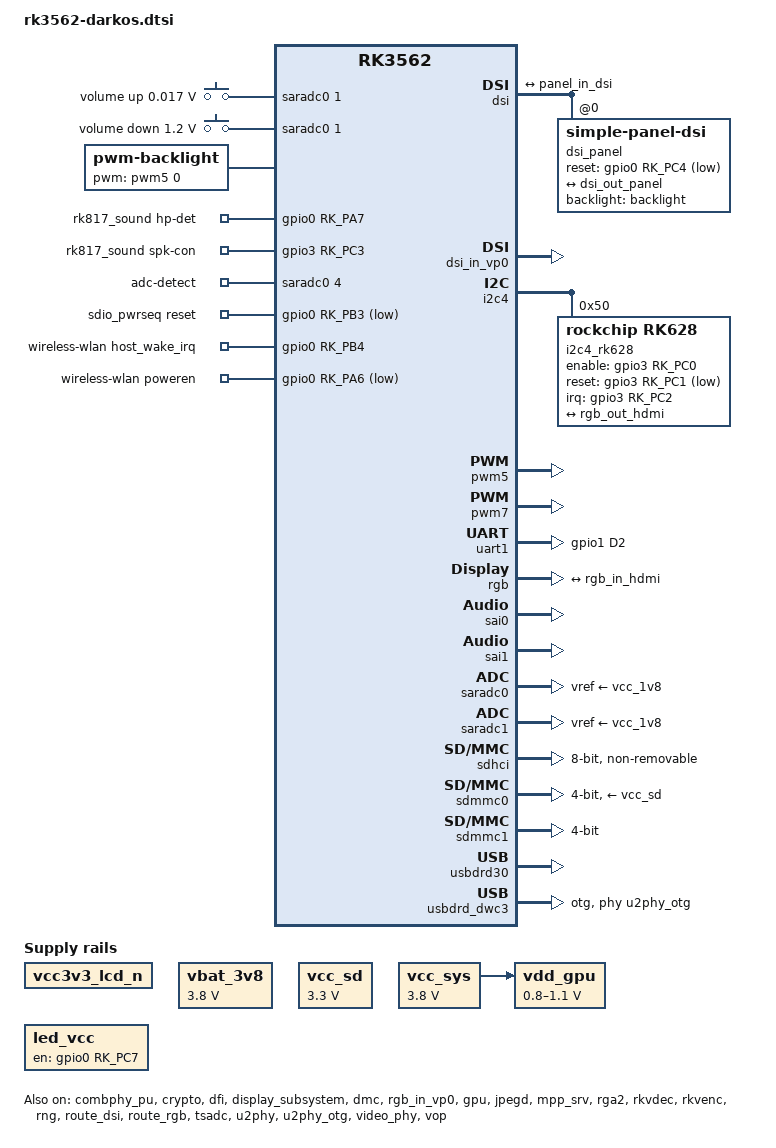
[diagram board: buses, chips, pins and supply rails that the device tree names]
// SPDX-License-Identifier: (GPL-2.0+ OR MIT)
/*
 * Copyright (c) 2024 dArkOS Contributors
 *
 * Shared device tree include for dArkOS gaming handhelds based on
 * Rockchip RK3562 with RK817 PMIC.  Included by both rk3562-rg52mini.dts
 * (portrait 720x1280 panel) and rk3562-rg43h.dts (landscape 1024x768 panel).
 *
 * Per-device DTS files override:
 *   - vcc3v3_lcd_n (gpios, enable-active-*, pinctrl-0)
 *   - DSI panel (panel-init-sequence, display-timings, power-supply/enable-gpios, pinctrl-0)
 *   - play_joystick node (entirely per-device)
 */

#include <dt-bindings/display/drm_mipi_dsi.h>
#include <dt-bindings/gpio/gpio.h>
#include <dt-bindings/input/input.h>
#include <dt-bindings/pinctrl/rockchip.h>

/ {
	adc_keys: adc-keys {
		compatible = "adc-keys";
		io-channels = <&saradc0 1>;
		io-channel-names = "buttons";
		keyup-threshold-microvolt = <1800000>;
		poll-interval = <100>;

		vol-up-key {
			linux,code = <KEY_VOLUMEUP>;
			label = "volume up";
			press-threshold-microvolt = <17000>;
		};

		vol-down-key {
			linux,code = <KEY_VOLUMEDOWN>;
			label = "volume down";
			press-threshold-microvolt = <1200000>;
		};
	};

	backlight: backlight {
		compatible = "pwm-backlight";
		pwms = <&pwm5 0 25000 0>;
		brightness-levels = <
			  0  20  20  21  21  22  22  23
			 23  24  24  25  25  26  26  27
			 27  28  28  29  29  30  30  31
			 31  32  32  33  33  34  34  35
			 35  36  36  37  37  38  38  39
			 40  41  42  43  44  45  46  47
			 48  49  50  51  52  53  54  55
			 56  57  58  59  60  61  62  63
			 64  65  66  67  68  69  70  71
			 72  73  74  75  76  77  78  79
			 80  81  82  83  84  85  86  87
			 88  89  90  91  92  93  94  95
			 96  97  98  99 100 101 102 103
			104 105 106 107 108 109 110 111
			112 113 114 115 116 117 118 119
			120 121 122 123 124 125 126 127
			128 129 130 131 132 133 134 135
			136 137 138 139 140 141 142 143
			144 145 146 147 148 149 150 151
			152 153 154 155 156 157 158 159
			160 161 162 163 164 165 166 167
			168 169 170 171 172 173 174 175
			176 177 178 179 180 181 182 183
			184 185 186 187 188 189 190 191
			192 193 194 195 196 197 198 199
			200 201 202 203 204 205 206 207
			208 209 210 211 212 213 214 215
			216 217 218 219 220 221 222 223
			224 225 226 227 228 229 230 231
			232 233 234 235 236 237 238 239
			240 241 242 243 244 245 246 247
			248 249 250 251 252 253 254 255
		>;
		default-brightness-level = <200>;
	};

	pdm_codec: dummy-codec {
		status = "okay";
		compatible = "rockchip,dummy-codec";
		#sound-dai-cells = <0>;
	};

	pdm_mic_array: pdm-mic-array {
		status = "disabled";
		compatible = "simple-audio-card";
		simple-audio-card,name = "rockchip,pdm-mic-array";

		simple-audio-card,cpu {
			sound-dai = <&pdm>;
		};

		simple-audio-card,codec {
			sound-dai = <&pdm_codec>;
		};
	};

	spdif_out: spdif-out {
		status = "disabled";
		compatible = "linux,spdif-dit";
		#sound-dai-cells = <0>;
	};

	spdif_sound: spdif-sound {
		status = "disabled";
		compatible = "simple-audio-card";
		simple-audio-card,name = "rk-spdif-sound";
		simple-audio-card,mclk-fs = <128>;

		simple-audio-card,cpu {
			sound-dai = <&spdif_8ch>;
		};

		simple-audio-card,codec {
			sound-dai = <&spdif_out>;
		};
	};

	test-power {
		status = "okay";
	};

	/*
	 * LCD voltage regulator skeleton.  Per-device DTS files add gpios,
	 * enable-active-low/high, pinctrl-0, and status = "okay".
	 */
	vcc3v3_lcd_n: vcc3v3-lcd0-n {
		compatible = "regulator-fixed";
		regulator-name = "vcc3v3_lcd_n";
		regulator-boot-on;

		regulator-state-mem {
			regulator-off-in-suspend;
		};
	};

	rk817_sound: rk817-sound {
		status = "okay";
		compatible = "rockchip,multicodecs-card";
		rockchip,card-name = "rockchip-rk817";
		hp-det-gpio = <&gpio0 RK_PA7 GPIO_ACTIVE_HIGH>;
		io-channels = <&saradc0 4>;
		io-channel-names = "adc-detect";
		keyup-threshold-microvolt = <1800000>;
		poll-interval = <100>;
		rockchip,format = "i2s";
		rockchip,mclk-fs = <256>;
		rockchip,cpu = <&sai0>;
		rockchip,codec = <&rk817_codec>;
		pinctrl-names = "default";
		spk-con-gpios = <&gpio3 RK_PC3 GPIO_ACTIVE_HIGH>;
		pinctrl-0 = <&hp_det &hp_con>;
		rockchip,audio-routing =
			"Headphone", "HPOL",
			"Headphone", "HPOR",
			"Speaker", "HPOL",
			"Speaker", "HPOR";

		play-pause-key {
			label = "playpause";
			linux,code = <KEY_PLAYPAUSE>;
			press-threshold-microvolt = <2000>;
		};
	};

	rk628_sound: rk628-sound {
		compatible = "simple-audio-card";
		simple-audio-card,format = "i2s";
		simple-audio-card,mclk-fs = <128>;
		simple-audio-card,name = "rockchip,hdmi-rk628";
		status = "okay";

		simple-audio-card,cpu {
			sound-dai = <&sai1>;
		};

		simple-audio-card,codec {
			sound-dai = <&i2c4_rk628>;
		};
	};

	sdio_pwrseq: sdio-pwrseq {
		compatible = "mmc-pwrseq-simple";
		clocks = <&rk817 1>;
		clock-names = "ext_clock";
		pinctrl-names = "default";
		pinctrl-0 = <&wifi_enable_h>;
		post-power-on-delay-ms = <200>;
		reset-gpios = <&gpio0 RK_PB3 GPIO_ACTIVE_LOW>;
	};

	vbat_3v8: vbat-3v8 {
		compatible = "regulator-fixed";
		regulator-name = "vbat_3v8";
		regulator-always-on;
		regulator-boot-on;
		regulator-min-microvolt = <3800000>;
		regulator-max-microvolt = <3800000>;
	};

	vcc_sd: vcc-sd {
		compatible = "regulator-gpio";
		enable-active-low;
		regulator-boot-on;
		gpios = <&gpio0 RK_PA5 GPIO_ACTIVE_LOW>;
		regulator-min-microvolt = <3300000>;
		regulator-max-microvolt = <3300000>;
		pinctrl-names = "default";
		pinctrl-0 = <&vcc_sd_h>;
		regulator-name = "vcc_sd";
		states = <0 0x0
			  3300000 0x1>;
	};

	vcc_sys: vcc-sys {
		compatible = "regulator-fixed";
		regulator-name = "vcc_sys";
		regulator-always-on;
		regulator-boot-on;
		regulator-min-microvolt = <3800000>;
		regulator-max-microvolt = <3800000>;
	};

	vdd_gpu: vdd-gpu {
		compatible = "pwm-regulator";
		pwms = <&pwm7 0 5000 1>;
		regulator-name = "vdd_gpu";
		regulator-min-microvolt = <800000>;
		regulator-max-microvolt = <1100000>;
		regulator-init-microvolt = <900000>;
		regulator-always-on;
		regulator-boot-on;
		regulator-settling-time-up-us = <250>;
		pwm-supply = <&vcc_sys>;
		status = "okay";
	};

	vdd_npu: vdd-npu {
		compatible = "pwm-regulator";
		pwms = <&pwm6 0 5000 1>;
		regulator-name = "vdd_npu";
		regulator-min-microvolt = <800000>;
		regulator-max-microvolt = <1100000>;
		regulator-init-microvolt = <900000>;
		regulator-settling-time-up-us = <250>;
		pwm-supply = <&vcc_sys>;
		status = "disabled";
	};

	led_vcc: led-vcc {
		compatible = "regulator-fixed";
		regulator-name = "vcc-led";
		pinctrl-0 = <&led_en_gpio>;
		pinctrl-names = "default";
		gpios = <&gpio0 RK_PC7 GPIO_ACTIVE_HIGH>;
		enable-active-high;
	};

	wireless-wlan {
		compatible = "wlan-platdata";
		rockchip,grf = <&sys_grf>;
		/* Rev A is RK915, rev B is AIC8800D80. rfkill is the only consumer
		 * and only prefix-matches "rtl..."; aic8800 binds by SDIO vendor ID.
		 * "aic8800D80" matches the silicon (fmacfw_8800d80_h_u02.bin). */
		wifi_chip_type = "aic8800D80";
		pinctrl-names = "default";
		pinctrl-0 = <&wifi_host_wake_irq &wifi_poweren_gpio>;
		WIFI,host_wake_irq = <&gpio0 RK_PB4 GPIO_ACTIVE_HIGH>;
		WIFI,poweren_gpio = <&gpio0 RK_PA6 GPIO_ACTIVE_LOW>;
		sdio_vref = <1800>;
		status = "okay";
	};

	wireless-bluetooth {
		compatible = "bluetooth-platdata";
		status = "disabled";
	};

	charge-animation {
		compatible = "rockchip,uboot-charge";
		rockchip,uboot-charge-on = <1>;
		rockchip,android-charge-on = <0>;
		rockchip,uboot-low-power-voltage = <3450>;
		rockchip,screen-on-voltage = <3500>;
		status = "okay";
	};

	rockchip_suspend: rockchip-suspend {
		compatible = "rockchip,pm-rk3562";
		status = "disabled";
		rockchip,sleep-debug-en = <1>;
		rockchip,sleep-mode-config = <0x5e2>;
		rockchip,wakeup-config = <0x10>;
	};
};

/* ---- SoC peripheral enables ------------------------------------------- */

&cpu0 {
	cpu-supply = <&vdd_cpu>;
};

&combphy_pu {
	status = "okay";
};

&crypto {
	status = "okay";
};

&dfi {
	status = "okay";
};

&display_subsystem {
	status = "okay";
};

&dmc {
	center-supply = <&vdd_logic>;
	status = "okay";
};

&dsi {
	status = "okay";

	dsi_panel: panel@0 {
		status = "okay";
		compatible = "simple-panel-dsi";
		reg = <0>;
		backlight = <&backlight>;
		reset-delay-ms = <20>;
		enable-delay-ms = <120>;
		prepare-delay-ms = <20>;
		unprepare-delay-ms = <20>;
		disable-delay-ms = <20>;
		init-delay-ms = <20>;
		width-mm = <68>;
		height-mm = <121>;
		dsi,flags = <(MIPI_DSI_MODE_VIDEO | MIPI_DSI_MODE_VIDEO_BURST |
			MIPI_DSI_MODE_LPM | MIPI_DSI_MODE_EOT_PACKET)>;
		dsi,format = <MIPI_DSI_FMT_RGB888>;
		dsi,lanes = <4>;
		reset-gpios = <&gpio0 RK_PC4 GPIO_ACTIVE_LOW>;

		/*
		 * panel-init-sequence, power-supply / enable-gpios, and
		 * pinctrl-0 are set per-device.
		 */

		panel-exit-sequence = [
			05 00 01 28
			05 00 01 10
		];

		disp_timings0: display-timings {
			native-mode = <&dsi_timing0>;

			/* Defaults from RG52 Mini; overridden per-device */
			dsi_timing0: timing0 {
				clock-frequency = <76800000>;
				hactive = <720>;
				vactive = <1280>;
				hfront-porch = <100>;
				hsync-len = <33>;
				hback-porch = <100>;
				vfront-porch = <20>;
				vsync-len = <2>;
				vback-porch = <30>;
				hsync-active = <0>;
				vsync-active = <0>;
				de-active = <0>;
				pixelclk-active = <1>;
			};
		};

		ports {
			#address-cells = <1>;
			#size-cells = <0>;

			port@0 {
				reg = <0>;

				panel_in_dsi: endpoint {
					remote-endpoint = <&dsi_out_panel>;
				};
			};
		};
	};

	ports {
		#address-cells = <1>;
		#size-cells = <0>;

		port@1 {
			reg = <1>;

			dsi_out_panel: endpoint {
				remote-endpoint = <&panel_in_dsi>;
			};
		};
	};
};

&dsi_in_vp0 {
	status = "okay";
};

&rgb_in_vp0 {
	status = "okay";
};

&gpu {
	status = "okay";
	mali-supply = <&vdd_gpu>;
};

&i2c4 {
	status = "okay";

	i2c4_rk628: rk628@50 {
		status = "okay";
		compatible = "rockchip,rk628";
		reg = <0x50>;
		#sound-dai-cells = <0>;
		interrupt-parent = <&gpio3>;
		interrupts = <RK_PC2 IRQ_TYPE_LEVEL_HIGH>;
		enable-gpios = <&gpio3 RK_PC0 GPIO_ACTIVE_HIGH>;
		reset-gpios = <&gpio3 RK_PC1 GPIO_ACTIVE_LOW>;
		pinctrl-names = "default";
		pinctrl-0 = <&rk628_reset &refclk_pins>;
		assigned-clocks = <&cru CLK_PMU1_WIFI>;
		assigned-clock-rates = <24000000>;
		clocks = <&cru CLK_PMU1_WIFI>;
		clock-names = "soc_24M";
		rk628-rgb-in;
		rk628-hdmi-out;

		port {
			rgb_in_hdmi: endpoint {
				remote-endpoint = <&rgb_out_hdmi>;
			};
		};
	};
};

&jpegd {
	status = "okay";
};

&jpegd_mmu {
	status = "okay";
};

&mpp_srv {
	status = "okay";
};

/* pwm4 is enabled per-device -- only the RG52 Mini uses it (chassis fan).
 * RG43H Pro has no fan, so we don't claim GPIO1_D1 there. */

&pwm5 {
	status = "okay";
};

/* pwm6 left disabled — drives vdd_npu, NPU is unused */

&pwm7 {
	status = "okay";
};

/* uart1 (ttyS1) -- TX-only serial link to the analog-stick RGB LED MCU.
 * Enabled on both devices; the LED feature itself is OFF by default (the
 * vcc-led rail stays down until the user turns it on from Options > LED
 * Settings). Only uart1_tx is muxed (see mcu_uart_tx) so the RG52 Mini fan
 * keeps GPIO1_D1. /usr/local/bin/ledctl drives it at 9600 8N1. */
&uart1 {
	pinctrl-names = "default";
	pinctrl-0 = <&mcu_uart_tx>;
	status = "okay";
};

&rga2 {
	status = "okay";
};

&rga2_mmu {
	status = "okay";
};

/* rknpu + rknpu_mmu left disabled — NPU is unused, saves power */

&rkvdec {
	status = "okay";
};

&rkvdec_mmu {
	status = "okay";
};

&rkvenc {
	status = "okay";
};

&rkvenc_mmu {
	status = "okay";
};

&rng {
	status = "okay";
};

&route_dsi {
	status = "okay";
};

&route_rgb {
	status = "okay";
};

&rgb {
	status = "okay";
	pinctrl-names = "default";
	pinctrl-0 = <&rgb666_pins>;

	ports {
		port@1 {
			reg = <1>;

			rgb_out_hdmi: endpoint {
				remote-endpoint = <&rgb_in_hdmi>;
			};
		};
	};
};

&sai0 {
	status = "okay";
	pinctrl-names = "default";
	pinctrl-0 = <&i2s0m0_lrck
		     &i2s0m0_sclk
		     &i2s0m0_sdi0
		     &i2s0m0_sdo0>;
};

&sai1 {
	status = "okay";
	/* i2s1m1: HDMI I2S to rk628 — i2s1m0 pins overlap rgb666 to rk628 */
	pinctrl-names = "default";
	pinctrl-0 = <&i2s1m1_mclk
		     &i2s1m1_sclk
		     &i2s1m1_lrck
		     &i2s1m1_sdo0>;
};

&saradc0 {
	status = "okay";
	vref-supply = <&vcc_1v8>;
};

&saradc1 {
	status = "okay";
	vref-supply = <&vcc_1v8>;
};

&sdhci {
	bus-width = <8>;
	no-sdio;
	no-sd;
	non-removable;
	max-frequency = <200000000>;
	mmc-hs400-1_8v;
	mmc-hs400-enhanced-strobe;
	full-pwr-cycle-in-suspend;
	status = "okay";
};

&sdmmc0 {
	no-sdio;
	no-mmc;
	bus-width = <4>;
	cap-mmc-highspeed;
	cap-sd-highspeed;
	disable-wp;
	sd-uhs-sdr104;
	vmmc-supply = <&vcc_sd>;
	vqmmc-supply = <&vccio_sd>;
	pinctrl-names = "default";
	pinctrl-0 = <&sdmmc0_bus4 &sdmmc0_clk &sdmmc0_cmd &sdmmc0_det>;
	status = "okay";
};

&sdmmc1 {
	no-sd;
	no-mmc;
	bus-width = <4>;
	disable-wp;
	cap-sd-highspeed;
	cap-sdio-irq;
	keep-power-in-suspend;
	mmc-pwrseq = <&sdio_pwrseq>;
	broken-cd;
	pinctrl-names = "default";
	pinctrl-0 = <&sdmmc1_bus4 &sdmmc1_cmd &sdmmc1_clk>;
	sd-uhs-sdr104;
	supports-sdio;
	supports-rk912;
	status = "okay";
};

&tsadc {
	status = "okay";
};

&u2phy {
	status = "okay";
};

&u2phy_host {
	status = "disabled";
};

&u2phy_otg {
	status = "okay";
};

&usb_host0_ehci {
	status = "disabled";
};

&usb_host0_ohci {
	status = "disabled";
};

&usbdrd30 {
	status = "okay";
};

&usbdrd_dwc3 {
	status = "okay";
	dr_mode = "otg";
	extcon = <&u2phy>;
	maximum-speed = "high-speed";
	phys = <&u2phy_otg>;
	phy-names = "usb2-phy";
	snps,dis_u2_susphy_quirk;
	snps,usb2-lpm-disable;
};

&video_phy {
	status = "okay";
};

&vop {
	status = "okay";
};

&vop_mmu {
	status = "okay";
};

/* VOP port@0 — DSI connector: set plane-mask for all dArkOS devices */
&vp0 {
	rockchip,plane-mask = <0x30c>;
	rockchip,primary-plane = <0x02>;
};

/* ---- RK817 overrides -------------------------------------------------- */

&rk817_codec {
	use-ext-amplifier;
	hp2extamplifier;
	hp-mute-delay-ms = <100>;
};

/* Add gpio_ts pin configs (temperature sensor pin on the RK817 PMIC itself) */
&pinctrl_rk8xx {
	rk817_ts_gpio1: rk817_ts_gpio1 {
		pins = "gpio_ts";
		function = "pin_fun1";
	};

	rk817_pin_ts: rk817_pin_ts {
		pins = "gpio_ts";
		function = "pin_fun0";
	};
};

/* ---- Pin control ------------------------------------------------------ */

&pinctrl {
	headphone {
		hp_det: hp-det {
			rockchip,pins = <0 RK_PA7 RK_FUNC_GPIO &pcfg_pull_up>;
		};
	};

	hp2extspeaker {
		hp_con: hp-con {
			rockchip,pins = <3 RK_PC3 RK_FUNC_GPIO &pcfg_pull_up>;
		};
	};

	lcd {
		lcd_rst_gpio: lcd-rst-gpio {
			rockchip,pins = <0 RK_PC4 RK_FUNC_GPIO &pcfg_pull_none>;
		};
	};

	sdio-pwrseq {
		wifi_enable_h: wifi-enable-h {
			rockchip,pins = <0 RK_PB3 RK_FUNC_GPIO &pcfg_pull_none>;
		};
	};

	vcc_sd {
		vcc_sd_h: vcc-sd-h {
			rockchip,pins = <0 RK_PA5 RK_FUNC_GPIO &pcfg_pull_down>;
		};
	};

	wireless-wlan {
		wifi_host_wake_irq: wifi-host-wake-irq {
			rockchip,pins = <0 RK_PB4 RK_FUNC_GPIO &pcfg_pull_down>;
		};

		wifi_poweren_gpio: wifi-poweren-gpio {
			rockchip,pins = <0 RK_PA6 RK_FUNC_GPIO &pcfg_pull_up>;
		};
	};

	rk628 {
		rk628_reset: rk628-reset {
			rockchip,pins = <3 RK_PC1 RK_FUNC_GPIO &pcfg_pull_none>;
		};

		refclk_pins: refclk-pins {
			rockchip,pins = <0 RK_PA0 1 &pcfg_pull_none>;
		};
	};

	vcc-led {
		led_en_gpio: led-en-gpio {
			rockchip,pins = <0 RK_PC7 RK_FUNC_GPIO &pcfg_pull_up>;
		};
	};

	stick-led-mcu {
		/* uart1_tx_m0 (GPIO1_D2) ONLY. The stick-RGB LED MCU is a
		 * write-only target (the mcu_led protocol never reads), so we
		 * deliberately do NOT mux uart1_rx_m0 (GPIO1_D1). That leaves
		 * GPIO1_D1 free for the RG52 Mini chassis fan (pwm4_m1), so the
		 * fan and the LED MCU coexist on one UART pin pair. */
		mcu_uart_tx: mcu-uart-tx {
			rockchip,pins = <1 RK_PD2 1 &pcfg_pull_up>;
		};
	};

	fan {
		fan_vcc_en_gpio: fan-vcc-en-gpio {
			rockchip,pins = <0 RK_PC3 RK_FUNC_GPIO &pcfg_pull_none>;
		};

		fan_det_gpio: fan-det-gpio {
			rockchip,pins = <2 RK_PA1 RK_FUNC_GPIO &pcfg_pull_up>;
		};
	};

	charge-led {
		charge_led_gpio: charge-led-gpio {
			rockchip,pins =
				<3 RK_PA0 RK_FUNC_GPIO &pcfg_pull_up>,
				<3 RK_PA1 RK_FUNC_GPIO &pcfg_pull_up>;
		};
	};

	buttons {
		/*
		 * All 10 button GPIOs are listed here (RG52 Mini has 10,
		 * RG43H Pro has 9).  The joystick driver node is per-device
		 * and references only the pins it needs via key-gpios.
		 */
		gpio_key_pin: gpio-key-pin {
			rockchip,pins =
				<1 RK_PC7 RK_FUNC_GPIO &pcfg_pull_up>,
				<1 RK_PD0 RK_FUNC_GPIO &pcfg_pull_up>,
				<1 RK_PD5 RK_FUNC_GPIO &pcfg_pull_up>,
				<1 RK_PD6 RK_FUNC_GPIO &pcfg_pull_up>,
				<1 RK_PD3 RK_FUNC_GPIO &pcfg_pull_up>,
				<1 RK_PD7 RK_FUNC_GPIO &pcfg_pull_up>,
				<1 RK_PD4 RK_FUNC_GPIO &pcfg_pull_up>,
				<2 RK_PA0 RK_FUNC_GPIO &pcfg_pull_up>,
				<0 RK_PC5 RK_FUNC_GPIO &pcfg_pull_up>,
				<0 RK_PC6 RK_FUNC_GPIO &pcfg_pull_up>;
		};

		moto_gpio: moto-gpio {
			rockchip,pins =
				<3 RK_PA7 RK_FUNC_GPIO &pcfg_pull_up>,
				<3 RK_PB0 RK_FUNC_GPIO &pcfg_pull_up>;
		};
	};
};
